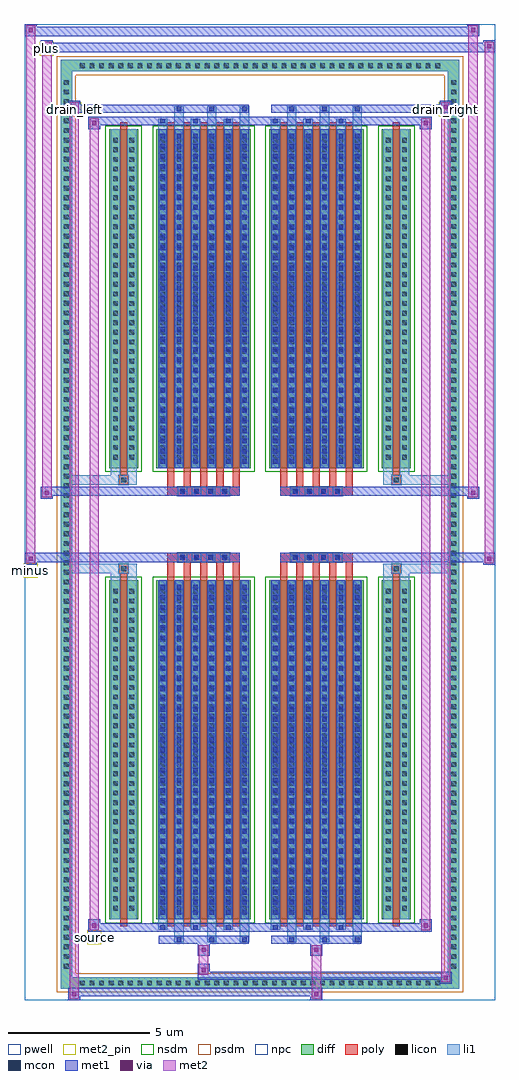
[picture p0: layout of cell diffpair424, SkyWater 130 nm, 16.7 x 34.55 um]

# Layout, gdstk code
import gdstk
lib = gdstk.Library(unit=1e-6, precision=5e-09)
def R(c, l, rs):  # rectangles x0, y0, x1, y1
    for r in rs: c.add(gdstk.rectangle(r[:2], r[2:], *l))
def A(c, l, x, y, w, h, nx, ny, dx, dy):  # array of equal rectangles
    R(c, l, [(x+i*dx, y+j*dy, x+i*dx+w, y+j*dy+h) for i in range(nx) for j in range(ny)])
def P(c, l, *ps):  # polygons
    for p in ps: c.add(gdstk.Polygon(p, *l))
pwell = (64, 44)
diff = (65, 20)
poly = (66, 20)
licon = (66, 44)
li1 = (67, 20)
mcon = (67, 44)
met1 = (68, 20)
via = (68, 44)
met2_pin = (69, 16)
met2 = (69, 20)
nsdm = (93, 44)
psdm = (94, 20)
npc = (95, 20)

diffpair424 = lib.new_cell('diffpair424')
R(diffpair424, pwell, [(-8.33,-16.84,8.33,17.71), (-5.65,-15.03,-0.01,-0.805), (0.01,-15.03,5.65,-0.805), (-5.65,0.805,-0.01,15.03), (0.01,0.805,5.65,15.03)])
A(diffpair424, diff, -6.495, -16.44, 0.41, 0.41, 38, 2, 0.34, 32.47)
A(diffpair424, diff, -7.06, -15.845, 0.41, 0.41, 1, 93, 0, 0.34)
A(diffpair424, diff, 6.65, -15.845, 0.41, 0.41, 1, 93, 0, 0.34)
R(diffpair424, diff, [(-6.495,-16.44,6.495,-16.03), (-7.06,-15.845,-6.65,15.845), (6.65,-15.845,7.06,15.845), (-5.34,-13.985,-4.31,-1.985), (-3.67,-13.985,-0.32,-1.985), (0.32,-13.985,3.67,-1.985), (4.31,-13.985,5.34,-1.985), (-5.34,1.985,-4.31,13.985), (-3.67,1.985,-0.32,13.985), (0.32,1.985,3.67,13.985), (4.31,1.985,5.34,13.985), (-6.495,16.03,6.495,16.44)])
P(diffpair424, diff, [(7.06,16.44),(-7.06,16.44),(-7.06,-16.03),(-6.65,-16.03),(-6.65,16.03),(6.65,16.03),(6.65,-16.03),(-6.65,-16.03),(-7.06,-16.03),(-7.06,-16.44),(7.06,-16.44)])
A(diffpair424, poly, -3.28, -14.235, 0.25, 12.5, 5, 2, 0.58, 15.97)
A(diffpair424, poly, 0.71, -14.235, 0.25, 12.5, 5, 2, 0.58, 15.97)
A(diffpair424, poly, -3.28, -1.735, 0.25, 0.4, 5, 2, 0.58, 3.07)
A(diffpair424, poly, 0.71, -1.735, 0.25, 0.4, 5, 2, 0.58, 3.07)
A(diffpair424, poly, -2.91, -1.335, 0.33, 0.33, 4, 2, 0.5, 2.34)
A(diffpair424, poly, 1.08, -1.335, 0.33, 0.33, 4, 2, 0.5, 2.34)
R(diffpair424, poly, [(-4.95,-14.235,-4.7,-1.735), (4.7,-14.235,4.95,-1.735), (-4.99,-1.735,-4.66,-1.405), (-4.99,-1.735,-4.66,-1.405), (4.66,-1.735,4.99,-1.405), (4.66,-1.735,4.99,-1.405), (-3.28,-1.335,-0.71,-1.005), (0.71,-1.335,3.28,-1.005), (-3.28,1.005,-0.71,1.335), (0.71,1.005,3.28,1.335), (-4.99,1.405,-4.66,1.735), (-4.99,1.405,-4.66,1.735), (4.66,1.405,4.99,1.735), (4.66,1.405,4.99,1.735), (-4.95,1.735,-4.7,14.235), (4.7,1.735,4.95,14.235)])
A(diffpair424, licon, -6.375, -16.32, 0.17, 0.17, 38, 2, 0.34, 32.47)
A(diffpair424, licon, -6.94, -15.725, 0.17, 0.17, 1, 93, 0, 0.34)
A(diffpair424, licon, 6.77, -15.725, 0.17, 0.17, 1, 93, 0, 0.34)
A(diffpair424, licon, -5.2, -13.68, 0.17, 0.17, 1, 34, 0, 0.34)
A(diffpair424, licon, -4.62, -13.68, 0.17, 0.17, 1, 34, 0, 0.34)
A(diffpair424, licon, -3.53, -13.68, 0.17, 0.17, 6, 34, 0.58, 0.34)
A(diffpair424, licon, 0.46, -13.68, 0.17, 0.17, 6, 34, 0.58, 0.34)
A(diffpair424, licon, 4.45, -13.68, 0.17, 0.17, 1, 34, 0, 0.34)
A(diffpair424, licon, 5.03, -13.68, 0.17, 0.17, 1, 34, 0, 0.34)
A(diffpair424, licon, -2.83, -1.255, 0.17, 0.17, 4, 2, 0.5, 2.34)
A(diffpair424, licon, 1.16, -1.255, 0.17, 0.17, 4, 2, 0.5, 2.34)
A(diffpair424, licon, -5.2, 2.29, 0.17, 0.17, 1, 34, 0, 0.34)
A(diffpair424, licon, -4.62, 2.29, 0.17, 0.17, 1, 34, 0, 0.34)
A(diffpair424, licon, -3.53, 2.29, 0.17, 0.17, 6, 34, 0.58, 0.34)
A(diffpair424, licon, 0.46, 2.29, 0.17, 0.17, 6, 34, 0.58, 0.34)
A(diffpair424, licon, 4.45, 2.29, 0.17, 0.17, 1, 34, 0, 0.34)
A(diffpair424, licon, 5.03, 2.29, 0.17, 0.17, 1, 34, 0, 0.34)
R(diffpair424, licon, [(-4.91,-1.655,-4.74,-1.485), (4.74,-1.655,4.91,-1.485), (-4.91,1.485,-4.74,1.655), (4.74,1.485,4.91,1.655)])
A(diffpair424, li1, -6.455, -16.4, 0.33, 0.33, 38, 2, 0.34, 32.47)
A(diffpair424, li1, -7.02, -15.805, 0.33, 0.33, 1, 93, 0, 0.34)
A(diffpair424, li1, 6.69, -15.805, 0.33, 0.33, 1, 93, 0, 0.34)
A(diffpair424, li1, -3.03, -14.79, 0.33, 0.805, 3, 2, 1.16, 28.775)
A(diffpair424, li1, -2.95, -14.79, 0.17, 0.17, 3, 2, 1.16, 29.41)
A(diffpair424, li1, 0.96, -14.79, 0.33, 0.805, 3, 2, 1.16, 28.775)
A(diffpair424, li1, 1.04, -14.79, 0.17, 0.17, 3, 2, 1.16, 29.41)
A(diffpair424, li1, -3.61, -14.36, 0.33, 0.375, 3, 2, 1.16, 28.345)
A(diffpair424, li1, -3.53, -14.36, 0.17, 0.17, 3, 2, 1.16, 28.55)
A(diffpair424, li1, 0.38, -14.36, 0.33, 0.375, 3, 2, 1.16, 28.345)
A(diffpair424, li1, 0.46, -14.36, 0.17, 0.17, 3, 2, 1.16, 28.55)
A(diffpair424, li1, -3.61, -13.985, 0.33, 12, 6, 2, 0.58, 15.97)
A(diffpair424, li1, 0.38, -13.985, 0.33, 12, 6, 2, 0.58, 15.97)
A(diffpair424, li1, -3.53, -13.83, 0.17, 0.17, 6, 33, 0.58, 0.36)
A(diffpair424, li1, -3.53, -13.83, 0.17, 11.69, 6, 2, 0.58, 15.97)
A(diffpair424, li1, 0.46, -13.83, 0.17, 0.17, 6, 33, 0.58, 0.36)
A(diffpair424, li1, 0.46, -13.83, 0.17, 11.69, 6, 2, 0.58, 15.97)
A(diffpair424, li1, -5.28, -13.76, 0.33, 0.33, 1, 34, 0, 0.34)
A(diffpair424, li1, -4.7, -13.76, 0.33, 0.33, 1, 34, 0, 0.34)
A(diffpair424, li1, -3.61, -13.76, 0.33, 0.33, 6, 34, 0.58, 0.34)
A(diffpair424, li1, 0.38, -13.76, 0.33, 0.33, 6, 34, 0.58, 0.34)
A(diffpair424, li1, 4.37, -13.76, 0.33, 0.33, 1, 34, 0, 0.34)
A(diffpair424, li1, 4.95, -13.76, 0.33, 0.33, 1, 34, 0, 0.34)
A(diffpair424, li1, -2.91, -1.335, 0.33, 0.33, 4, 2, 0.5, 2.34)
A(diffpair424, li1, 1.08, -1.335, 0.33, 0.33, 4, 2, 0.5, 2.34)
A(diffpair424, li1, -3.53, 2.14, 0.17, 0.17, 6, 33, 0.58, 0.36)
A(diffpair424, li1, 0.46, 2.14, 0.17, 0.17, 6, 33, 0.58, 0.36)
A(diffpair424, li1, -5.28, 2.21, 0.33, 0.33, 1, 34, 0, 0.34)
A(diffpair424, li1, -4.7, 2.21, 0.33, 0.33, 1, 34, 0, 0.34)
A(diffpair424, li1, -3.61, 2.21, 0.33, 0.33, 6, 34, 0.58, 0.34)
A(diffpair424, li1, 0.38, 2.21, 0.33, 0.33, 6, 34, 0.58, 0.34)
A(diffpair424, li1, 4.37, 2.21, 0.33, 0.33, 1, 34, 0, 0.34)
A(diffpair424, li1, 4.95, 2.21, 0.33, 0.33, 1, 34, 0, 0.34)
R(diffpair424, li1, [(-7.06,-16.44,-6.65,-16.03), (-7.06,-16.44,-6.65,-16.03), (-6.65,-16.44,6.65,-16.03), (6.65,-16.44,7.06,-16.03), (6.65,-16.44,7.06,-16.03), (-7.06,-16.03,-6.65,16.03), (6.65,-16.03,7.06,16.03), (-5.28,-13.985,-4.95,-1.985), (-4.7,-13.985,-4.37,-1.985), (4.37,-13.985,4.7,-1.985), (4.95,-13.985,5.28,-1.985), (-5.28,-1.985,-4.95,-1.405), (-4.7,-1.985,-4.37,-1.405), (4.37,-1.985,4.7,-1.405), (4.95,-1.985,5.28,-1.405), (-7.06,-1.735,-4.99,-1.405), (-5.28,-1.735,-4.99,-1.405), (-4.99,-1.735,-4.66,-1.405), (-4.66,-1.735,-4.37,-1.405), (4.37,-1.735,4.66,-1.405), (4.66,-1.735,4.99,-1.405), (4.66,-1.735,7.06,-1.405), (4.99,-1.735,5.28,-1.405), (-7.06,1.405,-4.99,1.735), (-5.28,1.405,-4.99,1.735), (-5.28,1.405,-4.95,1.985), (-4.99,1.405,-4.66,1.735), (-4.7,1.405,-4.37,1.985), (-4.66,1.405,-4.37,1.735), (4.37,1.405,4.66,1.735), (4.37,1.405,4.7,1.985), (4.66,1.405,4.99,1.735), (4.66,1.405,7.06,1.735), (4.95,1.405,5.28,1.985), (4.99,1.405,5.28,1.735), (-5.28,1.985,-4.95,13.985), (-4.7,1.985,-4.37,13.985), (4.37,1.985,4.7,13.985), (4.95,1.985,5.28,13.985), (-7.06,16.03,-6.65,16.44), (-7.06,16.03,-6.65,16.44), (-6.65,16.03,6.65,16.44), (6.65,16.03,7.06,16.44), (6.65,16.03,7.06,16.44)])
A(diffpair424, mcon, -2.95, -14.79, 0.17, 0.17, 3, 2, 1.16, 29.41)
A(diffpair424, mcon, 1.04, -14.79, 0.17, 0.17, 3, 2, 1.16, 29.41)
A(diffpair424, mcon, -3.53, -14.36, 0.17, 0.17, 3, 2, 1.16, 28.55)
A(diffpair424, mcon, 0.46, -14.36, 0.17, 0.17, 3, 2, 1.16, 28.55)
A(diffpair424, mcon, -3.53, -13.83, 0.17, 0.17, 6, 33, 0.58, 0.36)
A(diffpair424, mcon, 0.46, -13.83, 0.17, 0.17, 6, 33, 0.58, 0.36)
A(diffpair424, mcon, -2.83, -1.255, 0.17, 0.17, 4, 2, 0.5, 2.34)
A(diffpair424, mcon, 1.16, -1.255, 0.17, 0.17, 4, 2, 0.5, 2.34)
A(diffpair424, mcon, -3.53, 2.14, 0.17, 0.17, 6, 33, 0.58, 0.36)
A(diffpair424, mcon, 0.46, 2.14, 0.17, 0.17, 6, 33, 0.58, 0.36)
A(diffpair424, met1, -3.01, -14.85, 0.29, 0.29, 3, 2, 1.16, 29.41)
A(diffpair424, met1, 0.98, -14.85, 0.29, 0.29, 3, 2, 1.16, 29.41)
A(diffpair424, met1, -3.59, -14.42, 0.29, 0.29, 3, 2, 1.16, 28.55)
A(diffpair424, met1, 0.4, -14.42, 0.29, 0.29, 3, 2, 1.16, 28.55)
A(diffpair424, met1, -3.59, -13.985, 0.29, 12, 6, 2, 0.58, 15.97)
A(diffpair424, met1, 0.4, -13.985, 0.29, 12, 6, 2, 0.58, 15.97)
A(diffpair424, met1, -3.59, -13.89, 0.29, 0.29, 6, 33, 0.58, 0.36)
A(diffpair424, met1, 0.4, -13.89, 0.29, 0.29, 6, 33, 0.58, 0.36)
A(diffpair424, met1, -2.89, -1.315, 0.29, 0.29, 4, 2, 0.5, 2.34)
A(diffpair424, met1, 1.1, -1.315, 0.29, 0.29, 4, 2, 0.5, 2.34)
A(diffpair424, met1, -3.59, 2.08, 0.29, 0.29, 6, 33, 0.58, 0.36)
A(diffpair424, met1, 0.4, 2.08, 0.29, 0.29, 6, 33, 0.58, 0.36)
R(diffpair424, met1, [(-6.79,-16.84,-6.36,-16.41), (1.78,-16.84,2.21,-16.41), (-6.79,-16.7,2.21,-16.41), (6.36,-16.27,6.79,-15.84), (-2.21,-16.13,6.79,-15.84), (-2.21,-15.99,-1.78,-15.56), (-2.21,-15.28,-1.78,-14.85), (1.78,-15.28,2.21,-14.85), (-3.59,-14.85,-0.4,-14.56), (0.4,-14.85,3.59,-14.56), (-6.08,-14.42,-5.65,-13.99), (-6.08,-14.42,-3.59,-14.13), (-3.59,-14.42,-0.4,-14.13), (-0.4,-14.42,0.4,-14.13), (0.4,-14.42,3.59,-14.13), (3.59,-14.42,6.08,-14.13), (5.65,-14.42,6.08,-13.99), (-8.33,-1.435,-7.9,-1.005), (7.9,-1.435,8.33,-1.005), (-8.33,-1.335,-0.71,-1.005), (-3.28,-1.335,-0.71,-1.005), (0.71,-1.335,3.28,-1.005), (0.71,-1.335,8.33,-1.005), (-7.76,0.905,-7.33,1.335), (7.33,0.905,7.76,1.335), (-7.76,1.005,-3.28,1.335), (-3.28,1.005,-0.71,1.335), (0.71,1.005,3.28,1.335), (3.28,1.005,7.76,1.335), (-6.08,13.99,-5.65,14.42), (5.65,13.99,6.08,14.42), (-6.08,14.13,-3.59,14.42), (-3.59,14.13,-0.4,14.42), (-0.4,14.13,0.4,14.42), (0.4,14.13,3.59,14.42), (3.59,14.13,6.08,14.42), (-6.79,14.56,-6.36,14.99), (-6.79,14.56,-3.59,14.85), (-3.59,14.56,-0.4,14.85), (0.4,14.56,3.59,14.85), (3.59,14.56,6.79,14.85), (6.36,14.56,6.79,14.99), (-7.76,16.71,-7.33,17.14), (-7.76,16.71,-5.65,17.04), (-5.65,16.71,5.65,17.04), (5.65,16.71,8.33,17.04), (7.9,16.71,8.33,17.14), (-8.33,17.28,-7.9,17.71), (-8.33,17.28,-5.65,17.61), (-5.65,17.28,5.65,17.61), (5.65,17.28,7.76,17.61), (7.33,17.28,7.76,17.71)])
R(diffpair424, via, [(-6.65,-16.7,-6.5,-16.55), (1.92,-16.7,2.07,-16.55), (6.5,-16.13,6.65,-15.98), (-2.07,-15.85,-1.92,-15.7), (-2.07,-15.14,-1.92,-14.99), (1.92,-15.14,2.07,-14.99), (-5.94,-14.28,-5.79,-14.13), (5.79,-14.28,5.94,-14.13), (-8.19,-1.295,-8.04,-1.145), (8.04,-1.295,8.19,-1.145), (-7.62,1.045,-7.47,1.195), (7.47,1.045,7.62,1.195), (-5.94,14.13,-5.79,14.28), (5.79,14.13,5.94,14.28), (-6.65,14.7,-6.5,14.85), (6.5,14.7,6.65,14.85), (-7.62,16.85,-7.47,17), (8.04,16.85,8.19,17), (-8.19,17.42,-8.04,17.57), (7.47,17.42,7.62,17.57)])
R(diffpair424, met2_pin, [(-6.115,-14.87,-5.615,-14.37), (-8.365,-1.885,-7.865,-1.385), (-6.825,14.44,-6.325,14.94), (6.325,14.44,6.825,14.94), (-7.795,16.59,-7.295,17.09)])
R(diffpair424, met2, [(-6.74,-16.79,-6.41,-16.46), (-6.74,-16.79,-6.41,14.94), (1.83,-16.79,2.16,-16.46), (1.83,-16.46,2.16,-15.23), (6.41,-16.22,6.74,-15.89), (6.41,-16.22,6.74,14.94), (-2.16,-15.94,-1.83,-15.61), (-2.16,-15.61,-1.83,-15.23), (-2.16,-15.23,-1.83,-14.9), (1.83,-15.23,2.16,-14.9), (-6.03,-14.37,-5.7,-14.04), (-6.03,-14.37,-5.7,14.37), (5.7,-14.37,6.03,-14.04), (5.7,-14.37,6.03,14.37), (-8.28,-1.385,-7.95,-1.055), (-8.28,-1.385,-7.95,17.66), (7.95,-1.385,8.28,-1.055), (7.95,-1.385,8.28,17.09), (-7.71,0.955,-7.38,1.285), (-7.71,0.955,-7.38,17.09), (7.38,0.955,7.71,1.285), (7.38,0.955,7.71,17.66), (-6.03,14.04,-5.7,14.37), (5.7,14.04,6.03,14.37), (-6.74,14.61,-6.41,14.94), (6.41,14.61,6.74,14.94), (-7.71,16.76,-7.38,17.09), (7.95,16.76,8.28,17.09), (-8.28,17.33,-7.95,17.66), (7.38,17.33,7.71,17.66)])
P(diffpair424, met2, [(8.28,-1.385),(8.28,-1.385),(8.28,-1.055),(8.28,-1.055)],
  [(8.28,16.76),(8.28,16.76),(8.28,17.09),(8.28,17.09)],
  [(-7.95,-1.385),(-7.95,-1.385),(-7.95,-1.055),(-7.95,-1.055)],
  [(-7.95,17.33),(-7.95,17.33),(-7.95,17.66),(-7.95,17.66)],
  [(7.71,0.955),(7.71,0.955),(7.71,1.285),(7.71,1.285)],
  [(7.71,17.33),(7.71,17.33),(7.71,17.66),(7.71,17.66)],
  [(-7.38,0.955),(-7.38,0.955),(-7.38,1.285),(-7.38,1.285)],
  [(-7.38,16.76),(-7.38,16.76),(-7.38,17.09),(-7.38,17.09)],
  [(-6.41,-16.79),(-6.41,-16.79),(-6.41,-16.46),(-6.41,-16.46)],
  [(-6.41,14.61),(-6.41,14.61),(-6.41,14.94),(-6.41,14.94)],
  [(6.74,-16.22),(6.74,-16.22),(6.74,-15.89),(6.74,-15.89)],
  [(6.74,14.61),(6.74,14.61),(6.74,14.94),(6.74,14.94)],
  [(-5.7,-14.37),(-5.7,-14.37),(-5.7,-14.04),(-5.7,-14.04)],
  [(-5.7,14.04),(-5.7,14.04),(-5.7,14.37),(-5.7,14.37)],
  [(6.03,-14.37),(6.03,-14.37),(6.03,-14.04),(6.03,-14.04)],
  [(6.03,14.04),(6.03,14.04),(6.03,14.37),(6.03,14.37)])
R(diffpair424, nsdm, [(-5.47,-14.115,-4.18,-1.855), (-3.8,-14.115,-0.19,-1.855), (0.19,-14.115,3.8,-1.855), (4.18,-14.115,5.47,-1.855), (-5.47,1.855,-4.18,14.115), (-3.8,1.855,-0.19,14.115), (0.19,1.855,3.8,14.115), (4.18,1.855,5.47,14.115)])
P(diffpair424, psdm, [(7.19,16.57),(-7.19,16.57),(-7.19,-15.9),(-6.52,-15.9),(-6.52,15.9),(6.52,15.9),(6.52,-15.9),(-6.52,-15.9),(-7.19,-15.9),(-7.19,-16.57),(7.19,-16.57)])
A(diffpair424, npc, -2.93, -1.355, 0.37, 0.37, 4, 2, 0.5, 2.34)
A(diffpair424, npc, 1.06, -1.355, 0.37, 0.37, 4, 2, 0.5, 2.34)
R(diffpair424, npc, [(-5.01,-1.755,-4.64,-1.385), (4.64,-1.755,5.01,-1.385), (-2.93,-1.355,-2.06,-0.985), (-2.93,-1.355,-2.06,-0.985), (-2.43,-1.355,-1.56,-0.985), (-2.43,-1.355,-1.56,-0.985), (-1.93,-1.355,-1.06,-0.985), (-1.93,-1.355,-1.06,-0.985), (1.06,-1.355,1.93,-0.985), (1.06,-1.355,1.93,-0.985), (1.56,-1.355,2.43,-0.985), (1.56,-1.355,2.43,-0.985), (2.06,-1.355,2.93,-0.985), (2.06,-1.355,2.93,-0.985), (-2.93,0.985,-2.06,1.355), (-2.93,0.985,-2.06,1.355), (-2.43,0.985,-1.56,1.355), (-2.43,0.985,-1.56,1.355), (-1.93,0.985,-1.06,1.355), (-1.93,0.985,-1.06,1.355), (1.06,0.985,1.93,1.355), (1.06,0.985,1.93,1.355), (1.56,0.985,2.43,1.355), (1.56,0.985,2.43,1.355), (2.06,0.985,2.93,1.355), (2.06,0.985,2.93,1.355), (-5.01,1.385,-4.64,1.755), (4.64,1.385,5.01,1.755)])
diffpair424.add(gdstk.Label('minus', (-8.115,-1.635), layer=69, texttype=5))
diffpair424.add(gdstk.Label('drain_right', (6.575,14.69), layer=69, texttype=5))
diffpair424.add(gdstk.Label('drain_left', (-6.575,14.69), layer=69, texttype=5))
diffpair424.add(gdstk.Label('source', (-5.865,-14.62), layer=69, texttype=5))
diffpair424.add(gdstk.Label('plus', (-7.545,16.84), layer=69, texttype=5))

lib.write_gds('diffpair424.gds')
